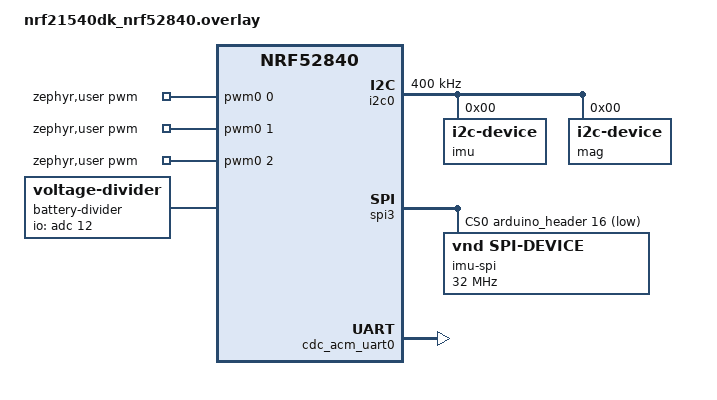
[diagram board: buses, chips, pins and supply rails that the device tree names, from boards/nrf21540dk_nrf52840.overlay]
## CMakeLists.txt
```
#
# Copyright (c) 2023 Nordic Semiconductor
#
# SPDX-License-Identifier: LicenseRef-Nordic-5-Clause
#
cmake_minimum_required(VERSION 3.20.0)

# Configure VERSION from repository tags, or a deterministic development fallback.
find_package(Git)

if(GIT_EXECUTABLE)
  execute_process(
    COMMAND ${GIT_EXECUTABLE} branch --show-current
    WORKING_DIRECTORY ${CMAKE_SOURCE_DIR}
    OUTPUT_VARIABLE GIT_BRANCH
    )
  execute_process(
    COMMAND ${GIT_EXECUTABLE} describe --dirty --tags --long --match [0-9]*.[0-9]*.[0-9]*
    WORKING_DIRECTORY ${CMAKE_SOURCE_DIR}
    OUTPUT_VARIABLE GIT_VERSION
    RESULT_VARIABLE GIT_VERSION_RESULT
    OUTPUT_STRIP_TRAILING_WHITESPACE
    ERROR_QUIET
    )
  # Prefer a https URL for display (falls back to ssh/origin.url)
  execute_process(
    COMMAND ${GIT_EXECUTABLE} config --get remote.origin.url
    WORKING_DIRECTORY ${CMAKE_SOURCE_DIR}
    OUTPUT_VARIABLE GIT_REPO_URL_SSH
    )
  execute_process(
    COMMAND ${GIT_EXECUTABLE} config --get remote.origin.https.url
    WORKING_DIRECTORY ${CMAKE_SOURCE_DIR}
    OUTPUT_VARIABLE GIT_REPO_URL_HTTPS
    )
  execute_process(
    COMMAND ${GIT_EXECUTABLE} log -1 --pretty=%an
    WORKING_DIRECTORY ${CMAKE_SOURCE_DIR}
    OUTPUT_VARIABLE GIT_AUTHOR
    )
endif()

if(GIT_BRANCH STREQUAL "")
  set(GIT_BRANCH unknown)
  message(WARNING "Unknown Git Branch")
endif()

# Choose URL: origin.https.url > origin.url
if(NOT GIT_REPO_URL_HTTPS STREQUAL "")
  set(GIT_REPO_URL ${GIT_REPO_URL_HTTPS})
else()
  set(GIT_REPO_URL ${GIT_REPO_URL_SSH})
endif()

# Normalize GitHub SSH URLs to HTTPS for display in firmware info
if(GIT_REPO_URL MATCHES "^git@github\\.com:(.+)$")
  set(GIT_REPO_URL "https://github.com/${CMAKE_MATCH_1}")
elseif(GIT_REPO_URL MATCHES "^ssh://git@github\\.com/(.+)$")
  set(GIT_REPO_URL "https://github.com/${CMAKE_MATCH_1}")
endif()
string(REGEX REPLACE "\\.git$" "" GIT_REPO_URL "${GIT_REPO_URL}")

if(GIT_REPO_URL STREQUAL "")
  set(GIT_REPO_URL unknown)
  message(WARNING "Unknown Git Repo URL")
endif()

if(GIT_AUTHOR STREQUAL "")
  set(GIT_AUTHOR unknown)
  message(WARNING "Unknown Git Author")
endif()

string(STRIP ${GIT_BRANCH} GIT_BRANCH)
string(STRIP ${GIT_REPO_URL} GIT_REPO_URL)
string(STRIP ${GIT_AUTHOR} GIT_AUTHOR)

if(GIT_VERSION_RESULT STREQUAL "0" AND
   GIT_VERSION MATCHES "^([0-9]+)\\.([0-9]+)\\.([0-9]+)-([0-9]+)-g[0-9a-f]+(-dirty)?$")
  set(GIT_MAJOR ${CMAKE_MATCH_1})
  set(GIT_MINOR ${CMAKE_MATCH_2})
  set(GIT_PATCH ${CMAKE_MATCH_3})
  set(GIT_TWEAK ${CMAKE_MATCH_4})
  configure_file(${CMAKE_SOURCE_DIR}/VERSION_SRC ${CMAKE_SOURCE_DIR}/VERSION @ONLY)
else()
  # VERSION is generated; never reuse stale release numbers from another branch.
  # Zephyr supplies commit provenance separately through APP_BUILD_VERSION.
  set(GIT_MAJOR 0)
  set(GIT_MINOR 0)
  set(GIT_PATCH 0)
  set(GIT_TWEAK 0)
  configure_file(${CMAKE_SOURCE_DIR}/VERSION_SRC ${CMAKE_SOURCE_DIR}/VERSION @ONLY)
  message(STATUS "No Git release version available; using development version 0.0.0")
endif()

# Pass metadata to C compilation units
add_compile_definitions(
  FW_GIT_BRANCH="${GIT_BRANCH}"
  FW_GIT_REPO_URL="${GIT_REPO_URL}"
  FW_GIT_AUTHOR="${GIT_AUTHOR}"
)

# Zephyr
find_package(Zephyr REQUIRED HINTS $ENV{ZEPHYR_BASE})
project(NONE)

find_package(Python3 QUIET COMPONENTS Interpreter)

if(NOT Python3_Interpreter_FOUND)
  find_program(PYTHON_EXECUTABLE NAMES python3 python REQUIRED)
  set(Python3_EXECUTABLE ${PYTHON_EXECUTABLE})
endif()

set(SOFTDEVICE_HEX_52840 ${CMAKE_SOURCE_DIR}/softdevice/s140_nrf52_7.3.0_softdevice.hex)
set(UF2_FAMILY_ID_52840 0xADA52840)

if(WITH_SOFTDEVICE)
  if(CONFIG_SOC_NRF52840)
    set(sd_softdevice_hex ${SOFTDEVICE_HEX_52840})
    set(sd_uf2_family_id ${UF2_FAMILY_ID_52840})
  else()
    message(FATAL_ERROR "WITH_SOFTDEVICE is currently only supported on nRF52840 targets")
  endif()

  if(DEFINED sd_softdevice_hex)
    if(NOT EXISTS ${sd_softdevice_hex})
      message(FATAL_ERROR "SoftDevice hex not found: ${sd_softdevice_hex}")
    endif()

    set(sd_merged_hex ${CMAKE_BINARY_DIR}/zephyr/zephyr_sd.hex)
    set(sd_merged_uf2 ${CMAKE_BINARY_DIR}/zephyr/zephyr_sd.uf2)

    add_custom_command(
      OUTPUT ${sd_merged_hex} ${sd_merged_uf2}
      COMMAND ${Python3_EXECUTABLE} ${ZEPHYR_BASE}/scripts/build/mergehex.py --overlap=replace -o ${sd_merged_hex} ${sd_softdevice_hex} ${CMAKE_BINARY_DIR}/zephyr/zephyr.hex
      COMMAND ${Python3_EXECUTABLE} ${ZEPHYR_BASE}/scripts/build/uf2conv.py ${sd_merged_hex} -c -f ${sd_uf2_family_id} -o ${sd_merged_uf2}
      DEPENDS ${sd_softdevice_hex} ${CMAKE_BINARY_DIR}/zephyr/zephyr.hex
      VERBATIM
    )

    add_custom_target(sd_merged_uf2 ALL DEPENDS ${sd_merged_hex} ${sd_merged_uf2})
  endif()
endif()

# NORDIC SDK APP START
FILE(GLOB_RECURSE app_sources src/*.c)
if(NOT CONFIG_CONNECTION_OVER_HID)
  list(FILTER app_sources EXCLUDE REGEX ".*/hid\\.c$")
endif()
if(NOT CONFIG_TDMA_DIAGNOSTICS AND NOT CONFIG_CONNECTION_RELAY)
  list(FILTER app_sources EXCLUDE REGEX ".*/radio_capture\\.c$")
endif()
if(NOT CONFIG_CONNECTION_RELAY)
  list(FILTER app_sources EXCLUDE REGEX ".*/connection/relay(_radio)?\\.c$")
endif()
if(NOT CONFIG_LED_DEBUG)
  list(FILTER app_sources EXCLUDE REGEX ".*/led_debug\\.c$")
endif()
if(NOT CONFIG_CUSTOMER_INFO OR NOT CONFIG_SOC_SERIES_NRF52)
  list(FILTER app_sources EXCLUDE REGEX ".*/customer_info(_parser)?\\.c$")
endif()
if(NOT CONFIG_CONNECTION_RAW_COLLECTION)
  list(FILTER app_sources EXCLUDE REGEX ".*/sensor/raw_collection\\.c$")
endif()
if(NOT CONFIG_SENSOR_USE_MAGNETOMETER)
  list(FILTER app_sources EXCLUDE REGEX ".*/sensor/scan_ext\\.c$")
  list(FILTER app_sources EXCLUDE REGEX ".*/sensor/calibration/(online_mag|mag_fit|magneto)\\.c$")
endif()
list(FILTER app_sources EXCLUDE REGEX ".*/sensor/imu/.*\\.c$")
list(FILTER app_sources EXCLUDE REGEX ".*/sensor/mag/.*\\.c$")
target_sources(app PRIVATE ${app_sources})

# IMU drivers
if(CONFIG_SENSOR_DRV_ICM42688)
  target_sources(app PRIVATE src/sensor/imu/ICM42688.c)
endif()
if(CONFIG_SENSOR_DRV_ICM42686)
  target_sources(app PRIVATE src/sensor/imu/ICM42686.c)
endif()
if(CONFIG_SENSOR_DRV_ICM45686)
  target_sources(app PRIVATE src/sensor/imu/ICM45686.c)
endif()
if(CONFIG_SENSOR_DRV_LSM6DSM)
  target_sources(app PRIVATE src/sensor/imu/LSM6DSM.c)
endif()
if(CONFIG_SENSOR_DRV_LSM6DSO)
  target_sources(app PRIVATE src/sensor/imu/LSM6DSO.c)
endif()
# LSM6DSM/DSO vtables call shared helpers defined in LSM6DSV.c (lsm_shutdown,
# lsm_accel_read, …). Compile that TU whenever any LSM6 family DRV is on, even
# if SENSOR_DRV_LSM6DSV=n — keep the Kconfig off so scan/vtable stay trimmed and
# SENSOR_IMU_DRV_COUNT is not inflated.
if(CONFIG_SENSOR_DRV_LSM6DSV OR CONFIG_SENSOR_DRV_LSM6DSM OR CONFIG_SENSOR_DRV_LSM6DSO)
  target_sources(app PRIVATE src/sensor/imu/LSM6DSV.c)
endif()

# Magnetometer drivers
if(CONFIG_SENSOR_USE_MAGNETOMETER)
if(CONFIG_SENSOR_DRV_AK09940)
  target_sources(app PRIVATE src/sensor/mag/AK09940.c)
endif()
if(CONFIG_SENSOR_DRV_BMM150)
  target_sources(app PRIVATE src/sensor/mag/BMM150.c)
endif()
if(CONFIG_SENSOR_DRV_BMM350)
  target_sources(app PRIVATE src/sensor/mag/BMM350.c)
endif()
if(CONFIG_SENSOR_DRV_ICT153XX)
  target_sources(app PRIVATE src/sensor/mag/ICT153xx.c)
endif()
if(CONFIG_SENSOR_DRV_IST8306 OR CONFIG_SENSOR_DRV_IST8308)
  target_sources(app PRIVATE src/sensor/mag/ist83xx.c)
endif()
if(CONFIG_SENSOR_DRV_IST8306)
  target_sources(app PRIVATE src/sensor/mag/IST8306.c)
endif()
if(CONFIG_SENSOR_DRV_IST8308)
  target_sources(app PRIVATE src/sensor/mag/IST8308.c)
endif()
if(CONFIG_SENSOR_DRV_LIS2MDL)
  target_sources(app PRIVATE src/sensor/mag/LIS2MDL.c)
endif()
if(CONFIG_SENSOR_DRV_LIS3MDL)
  target_sources(app PRIVATE src/sensor/mag/LIS3MDL.c)
endif()
if(CONFIG_SENSOR_DRV_MMC5603NJ)
  target_sources(app PRIVATE src/sensor/mag/MMC5603NJ.c)
endif()
if(CONFIG_SENSOR_DRV_MMC5983MA)
  target_sources(app PRIVATE src/sensor/mag/MMC5983MA.c)
endif()
if(CONFIG_SENSOR_DRV_QMC5883L)
  target_sources(app PRIVATE src/sensor/mag/QMC5883L.c)
endif()
if(CONFIG_SENSOR_DRV_QMC6309)
  target_sources(app PRIVATE src/sensor/mag/QMC6309.c)
endif()
endif()

set(_slimenrf_imu_drv_count 0)
foreach(_d ICM42688 ICM42686 ICM45686 LSM6DSM LSM6DSO LSM6DSV)
  if(CONFIG_SENSOR_DRV_${_d})
    math(EXPR _slimenrf_imu_drv_count "${_slimenrf_imu_drv_count}+1")
  endif()
endforeach()
if(_slimenrf_imu_drv_count EQUAL 0)
  message(FATAL_ERROR "No IMU SENSOR_DRV_* enabled. Enable at least one, or turn off SENSOR_IMU_DRIVERS_MINIMAL.")
endif()
# NORDIC SDK APP END

FILE(GLOB_RECURSE files vqf-c/src/*.c)
target_sources(app PRIVATE ${files})
set_property(
  SOURCE ${CMAKE_CURRENT_SOURCE_DIR}/vqf-c/src/vqf.c
  APPEND PROPERTY COMPILE_OPTIONS
  -Wno-double-promotion
)
if(CONFIG_SENSOR_VQF_ADAPTIVE_BIAS)
  target_compile_definitions(app PRIVATE VQF_ADAPTIVE_BIAS)
endif()
if(CONFIG_SENSOR_VQF_REST_TRANSITION)
  target_compile_definitions(app PRIVATE VQF_REST_TRANSITION)
endif()
if(CONFIG_SENSOR_VQF_FAST_REST_RECOVERY)
  target_compile_definitions(app PRIVATE VQF_FAST_REST_RECOVERY)
endif()
if(CONFIG_SENSOR_VQF_CYCLE_BIAS_OBSERVATION)
  target_compile_definitions(app PRIVATE VQF_CYCLE_BIAS_OBSERVATION)
endif()
if(CONFIG_SENSOR_VQF_OUTPUT_OBSERVER)
  target_compile_definitions(app PRIVATE VQF_OUTPUT_OBSERVER VQF_OUTPUT_TAU_ACC=3.264f)
endif()

target_include_directories(app PRIVATE src)
target_include_directories(app PRIVATE vqf-c/src)

# Force recompile for updated build timestamp
add_custom_target(touch_util_h ALL
    COMMAND ${CMAKE_COMMAND} -E touch ${CMAKE_SOURCE_DIR}/src/build_defines.h
)
```

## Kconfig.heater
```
menuconfig SENSOR_TCAL_HEATED
    bool "Experimental closed-loop heated T-Cal"
    default n
    depends on SENSOR_USE_TCAL && SOC_NRF52840
    depends on BOARD_SK_CHEESECAKE_NRF_P00 || BOARD_SK_CHEESECAKE_NRF_P10
    depends on !PM && !PM_DEVICE_RUNTIME
    select SYSTEM_IMU_HEATER
    help
        Built in by default on P00/P10; heating starts only through the
        explicit "tcal heat start" console command and requires external power.
        Electrical/thermal qualification is still required. TIMER4 and PWM1
        are exclusively reserved. The hardware cutoff repeats STOP; it is
        not a latched interlock against a delayed CPU restart.

config SYSTEM_IMU_HEATER
    bool
    select PWM
    select NRFX_TIMER
    select NRFX_GPPI

if SENSOR_TCAL_HEATED

config SYSTEM_IMU_HEATER_MAX_DUTY_PPTT
    int "Maximum heater duty (1/10000)"
    range 1 9900
    default 7000
    help
        Conservative software ceiling, not a hardware-qualified power limit.
        100 percent is forbidden: stopped PWM must fall back to GPIO LOW.

config SENSOR_TCAL_HEATED_DEFAULT_TARGET_C
    int "Default heated calibration target (C)"
    range 30 48
    default 44

config SENSOR_TCAL_HEATED_MAX_TEMP_C
    int "Absolute raw temperature shutdown threshold (C)"
    range 40 60
    default 50

config SENSOR_TCAL_HEATED_RAMP_HALF_DEGREE_MS
    int "Active ramp time per 0.5 C (ms)"
    range 5000 500000
    default 45000
    help
        Reference rise of 0.5 C per configured active ramp interval.
        The default is exactly 0.5 C per 45 seconds (2/3 C per minute).
        Motion pauses do not accumulate ramp time.

config SENSOR_TCAL_HEATED_STABLE_BAND_MC
    int "Target stable band (mC)"
    range 100 1000
    default 500

config SENSOR_TCAL_HEATED_STABLE_MS
    int "Stable target dwell (ms)"
    range 10000 300000
    default 60000

config SENSOR_TCAL_HEATED_MAX_RISE_MCPS
    int "Maximum confirmed raw-window temperature rise (mC/s)"
    range 50 1000
    default 200
    help
        Rise is measured between adjacent time-weighted raw-temperature means,
        each covering at least one second of advancing acquisition timestamps.
        Two consecutive slopes above this limit abort, even with heater off.
        Confirmation requires three covered windows; acquisition cadence and
        jitter extend their duration. Raw and filtered absolute ceilings remain
        immediate. Above half this rate, the controller requests zero heat and
        pauses ramp/unfinished sampling; at or below one quarter it releases
        the limit and requires the normal rest dwell before sampling resumes.

config SENSOR_TCAL_HEATED_TIMEOUT_MIN
    int "Session timeout (minutes)"
    range 1 90
    default 90

config SENSOR_TCAL_HEATED_RESUME_STABLE_MS
    int "Rest dwell before resuming ramp and sampling (ms)"
    range 1000 30000
    default 5000

config SENSOR_TCAL_HEATED_SLEW_PPTT_PER_S
    int "Maximum duty increase per second (1/10000)"
    range 1 2000
    default 500

config SENSOR_TCAL_HEATED_DEFAULT_KP
    int "Proportional gain (1/10000 per C)"
    range 0 2000
    default 300

config SENSOR_TCAL_HEATED_DEFAULT_KI
    int "Integral gain (1/10000 per C-second)"
    range 0 100
    default 5

config SENSOR_TCAL_HEATED_DEFAULT_KFF
    int "Feedforward gain (1/10000 per C)"
    range 0 2000
    default 0
    help
        Optional feedforward requires physical thermal plant identification.

endif
```

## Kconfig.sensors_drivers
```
config SENSOR_IMU_DRIVERS_MINIMAL
	bool "Compile only selected IMU drivers"
	default n
	help
	  When disabled (default), every SENSOR_DRV_* IMU option defaults to y.
	  When enabled, each IMU SENSOR_DRV_* defaults to n; enable the BOM
	  drivers in the board *_defconfig.

config SENSOR_MAG_DRIVERS_MINIMAL
	bool "Compile only selected magnetometer drivers"
	default n
	help
	  Same as SENSOR_IMU_DRIVERS_MINIMAL but for magnetometer drivers.
	  Mag may be entirely disabled (mag-less boards).

menu "IMU drivers"

config SENSOR_DRV_ICM42688
	bool "ICM42688"
	default y if !SENSOR_IMU_DRIVERS_MINIMAL
	default n

config SENSOR_DRV_ICM42686
	bool "ICM42686"
	default y if !SENSOR_IMU_DRIVERS_MINIMAL
	default n

config SENSOR_DRV_ICM45686
	bool "ICM45686 / ICM45688"
	default y if !SENSOR_IMU_DRIVERS_MINIMAL
	default n

config SENSOR_DRV_LSM6DSM
	bool "LSM6DSM family (DS3 / DSM)"
	default y if !SENSOR_IMU_DRIVERS_MINIMAL
	default n
	help
	  Shares helpers compiled from LSM6DSV.c (CMake pulls that TU in
	  automatically). Enabling this alone does not enable SENSOR_DRV_LSM6DSV
	  scan/vtable slots.

config SENSOR_DRV_LSM6DSO
	bool "LSM6DSO family (DSR / DSO)"
	default y if !SENSOR_IMU_DRIVERS_MINIMAL
	default n
	help
	  Shares helpers compiled from LSM6DSV.c (CMake pulls that TU in
	  automatically). Enabling this alone does not enable SENSOR_DRV_LSM6DSV
	  scan/vtable slots.

config SENSOR_DRV_LSM6DSV
	bool "LSM6DSV family (DSV / ISM330BX)"
	default y if !SENSOR_IMU_DRIVERS_MINIMAL
	default n
	help
	  Also provides shared LSM6 helpers used by LSM6DSM / LSM6DSO drivers.

endmenu

menu "Magnetometer drivers"

config SENSOR_DRV_AK09940
	bool "AK09940"
	default y if !SENSOR_MAG_DRIVERS_MINIMAL
	default n

config SENSOR_DRV_BMM150
	bool "BMM150"
	default y if !SENSOR_MAG_DRIVERS_MINIMAL
	default n

config SENSOR_DRV_BMM350
	bool "BMM350"
	default y if !SENSOR_MAG_DRIVERS_MINIMAL
	default n

config SENSOR_DRV_ICT153XX
	bool "ICT-15312 / ICT-15318"
	default y if !SENSOR_MAG_DRIVERS_MINIMAL
	default n
	help
	  I2C magnetometers, including access through an IMU external I2C proxy.
	  Both require VDD 1.62–1.98 V; ICT-15312 uses 1.2 V bus logic and
	  ICT-15318 uses 1.8 V bus logic.

config SENSOR_DRV_IST8306
	bool "IST8306"
	default y if !SENSOR_MAG_DRIVERS_MINIMAL
	default n

config SENSOR_DRV_IST8308
	bool "IST8308"
	default y if !SENSOR_MAG_DRIVERS_MINIMAL
	default n

config SENSOR_DRV_LIS2MDL
	bool "LIS2MDL / IIS2MDC"
	default y if !SENSOR_MAG_DRIVERS_MINIMAL
	default n

config SENSOR_DRV_LIS3MDL
	bool "LIS3MDL"
	default y if !SENSOR_MAG_DRIVERS_MINIMAL
	default n

config SENSOR_DRV_MMC5603NJ
	bool "MMC5603NJ"
	default y if !SENSOR_MAG_DRIVERS_MINIMAL
	default n

config SENSOR_DRV_MMC5983MA
	bool "MMC5983MA"
	default y if !SENSOR_MAG_DRIVERS_MINIMAL
	default n

config SENSOR_DRV_QMC5883L
	bool "QMC5883L"
	default y if !SENSOR_MAG_DRIVERS_MINIMAL
	default n

config SENSOR_DRV_QMC6309
	bool "QMC6309"
	default y if !SENSOR_MAG_DRIVERS_MINIMAL
	default n

endmenu
```

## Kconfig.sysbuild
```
config PARTITION_MANAGER
	default n

if BOOTLOADER_MCUBOOT

choice MCUBOOT_MODE
	default MCUBOOT_MODE_SINGLE_APP if SOC_NRF52832 || SOC_NRF52833
endchoice

endif

source "share/sysbuild/Kconfig"
```

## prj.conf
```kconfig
#CONFIG_NCS_SAMPLES_DEFAULTS
CONFIG_ASSERT=y
CONFIG_ASSERT_NO_COND_INFO=y
CONFIG_ASSERT_NO_MSG_INFO=y
CONFIG_ASSERT_VERBOSE=n
CONFIG_RESET_ON_FATAL_ERROR=n

CONFIG_NCS_APPLICATION_BOOT_BANNER_STRING="SlimeVR-Tracker-nRF"
#CONFIG_NCS_BOOT_BANNER=n
CONFIG_BOOT_BANNER=n

# HEX carries mapped-partition addresses for native UF2 generation.
CONFIG_BUILD_OUTPUT_HEX=y

CONFIG_LTO=y
CONFIG_ISR_TABLES_LOCAL_DECLARATION=y

CONFIG_ESB=y

CONFIG_ENTROPY_GENERATOR=y
CONFIG_HARDWARE_DEVICE_CS_GENERATOR=y
#need to enable for nRF54L
#CONFIG_NRFX_DPPI10=y

CONFIG_ADC=y
CONFIG_ADC_NRFX_SAADC=y
# battery.c owns ADC/GPIO setup; voltage-divider DT nodes supply board metadata.
CONFIG_VOLTAGE_DIVIDER=n
CONFIG_FPU=y

# CMSIS-DSP Configuration for VQF optimization
CONFIG_CMSIS_DSP=y
CONFIG_CMSIS_DSP_FASTMATH=y
CONFIG_CMSIS_DSP_BASICMATH=y
CONFIG_CMSIS_DSP_MATRIX=y
CONFIG_CMSIS_DSP_QUATERNIONMATH=y
CONFIG_CMSIS_DSP_SUPPORT=y
CONFIG_CMSIS_DSP_CONTROLLER=y
CONFIG_DSP=y

CONFIG_I2C=y
CONFIG_SPI=y
CONFIG_PINCTRL=y

CONFIG_NVS=y
CONFIG_NVS_LOOKUP_CACHE=y
CONFIG_NVS_INIT_BAD_MEMORY_REGION=y

CONFIG_POWEROFF=y
CONFIG_REBOOT=y

CONFIG_FLASH=y
CONFIG_FLASH_PAGE_LAYOUT=y
CONFIG_FLASH_MAP=y
CONFIG_USE_DT_CODE_PARTITION=y

CONFIG_SETTINGS=y
CONFIG_SETTINGS_RUNTIME=y
CONFIG_SETTINGS_NONE=y

CONFIG_MPU_ALLOW_FLASH_WRITE=y

CONFIG_RETAINED_MEM=y

CONFIG_USE_SEGGER_RTT=y
CONFIG_SEGGER_RTT_SECTION_NONE=y
CONFIG_LOG=y
#CONFIG_PRINTK=y
CONFIG_LOG_MODE_DEFERRED=y
CONFIG_LOG_SPEED=y
CONFIG_LOG_BACKEND_RTT=y
CONFIG_CBPRINTF_FP_SUPPORT=y
CONFIG_ADC_LOG_LEVEL_OFF=y
CONFIG_LOG_FUNC_NAME_PREFIX_ERR=y
# Absorb multi-line sensor debug bursts without changing their output cadence.
CONFIG_LOG_BUFFER_SIZE=8192
CONFIG_LOG_BACKEND_UART_AUTOSTART=n
CONFIG_LOG_PROCESS_THREAD_SLEEP_MS=25
CONFIG_LOG_PROCESS_THREAD_STACK_SIZE=1024

CONFIG_PWM=y
CONFIG_GPIO=y

CONFIG_CRC=y

# Sensor lifecycle waits (suspend / scan) use k_event instead of busy spins
CONFIG_EVENTS=y

CONFIG_PICOLIBC=y
# CONFIG_NRFX_TIMER1=y

#speed up boot? (use internal rc oscillator)
CONFIG_CLOCK_CONTROL_NRF_K32SRC_RC=y
CONFIG_CLOCK_CONTROL_NRF_K32SRC_20PPM=y

# dont need it
CONFIG_CRYPTO=n

# set timeout for 25ms, sufficient for ~1000 bytes
CONFIG_I2C_NRFX_TRANSFER_TIMEOUT=25

CONFIG_USB_DEVICE_STACK_NEXT=y
CONFIG_USBD_CDC_ACM_CLASS=y
CONFIG_CDC_ACM_SERIAL_INITIALIZE_AT_BOOT=n
CONFIG_SLIMEVR_USB_DEVICE_VID=0x1209
CONFIG_SLIMEVR_USB_DEVICE_PID=0x7692
CONFIG_UART_INTERRUPT_DRIVEN=y

CONFIG_SERIAL=y
CONFIG_CONSOLE=y
CONFIG_RTT_CONSOLE=y
CONFIG_UART_CONSOLE=y
CONFIG_UART_LINE_CTRL=y

CONFIG_LOG_BACKEND_UART=y

CONFIG_CONSOLE_SUBSYS=y

CONFIG_NVS_LOG_LEVEL_WRN=y

CONFIG_SYSTEM_WORKQUEUE_STACK_SIZE=1024
CONFIG_MAIN_STACK_SIZE=2048

CONFIG_THREAD_NAME=y
CONFIG_THREAD_MAX_NAME_LEN=22

CONFIG_HEAP_MEM_POOL_SIZE=4096
CONFIG_ISR_STACK_SIZE=2048

CONFIG_PM_DEVICE=y


CONFIG_USE_ACTIVE_TIMEOUT=y

# 100ms switch delay will be obvious to users, so we choose not to use it by default,
# but it can be enabled for testing or specific use cases
CONFIG_SENSOR_USE_LOW_POWER_2=n

# control low power mode
# due to current mag reading is process in sensor loop,
# low power mode will cause mag reading isn't at target odr,
# so currently it should be disabled by default
CONFIG_USE_IMU_TIMEOUT=n
# a very large low power timeout (1h) to prevent it from triggering
CONFIG_SENSOR_LP_TIMEOUT=3600000

# 10 minutes timeout with wake on motion
CONFIG_ACTIVE_TIMEOUT_DELAY=600000

# dynamic low-activity sleep timeout is 90 seconds, repeat wake timeout is 90 seconds by default
CONFIG_ACTIVE_TIMEOUT_IDLE_WAKE_DELAY=90000
CONFIG_DYNAMIC_ACTIVE_TIMEOUT=y
CONFIG_USE_IMU_WAKE_UP=y

# or 6 hours timeout
# CONFIG_USE_IMU_WAKE_UP=n
# CONFIG_ACTIVE_TIMEOUT_DELAY=21600000

CONFIG_USER_EXTRA_ACTIONS=y
CONFIG_DISABLE_SENSOR_GPIOS_ON_SHUTDOWN=y

CONFIG_ESB_MAX_PAYLOAD_LENGTH=72
CONFIG_ESB_TX_FIFO_SIZE=8
CONFIG_ESB_RX_FIFO_SIZE=8
CONFIG_RADIO_RF_CHANNEL=84
CONFIG_RADIO_RETRANSMIT_DELAY=310
CONFIG_CONNECTION_ENABLE_ACK=n
CONFIG_RADIO_TX_POWER=8
# 3 minutes timeout after ping continuous failed
CONFIG_CONNECTION_TIMEOUT_DELAY=180000

# CONFIG_SENSOR_USE_ACCEL_CALIBRATION=y
# CONFIG_SENSOR_USE_SENS_CALIBRATION=y
# CONFIG_SENSOR_SENS_REV=5

# CONFIG_SENSOR_USE_TCAL=y

# Boot calibration is disabled by default
# CONFIG_SENSOR_USE_BOOT_CALIBRATION=y

# Gyro/accel ODR. Gyro OVERSAMPLING = Δq INT_merge factor.
# Example: GYRO_ODR=1600 + GYRO_OVERSAMPLING=4 → 400 Hz fusion gyro steps.
# icm45 ~1600, dsv ~1920
# CONFIG_SENSOR_GYRO_ODR=400
# fusion rate at ~400Hz
# CONFIG_SENSOR_GYRO_OVERSAMPLING=1
# CONFIG_SENSOR_MAG_ODR=100

CONFIG_VQF_ADAPTIVE_TAU_ACC=n
CONFIG_SENSOR_VQF_ADAPTIVE_BIAS=n
CONFIG_SENSOR_VQF_REST_TRANSITION=n
CONFIG_SENSOR_VQF_FAST_REST_RECOVERY=n
CONFIG_SENSOR_VQF_CYCLE_BIAS_OBSERVATION=n

# Watchdog Configuration
CONFIG_WATCHDOG=y
CONFIG_WDT_NRFX=y
CONFIG_TASK_WDT=y
CONFIG_TASK_WDT_CHANNELS=9
CONFIG_TASK_WDT_HW_FALLBACK=y
CONFIG_TASK_WDT_HW_FALLBACK_DELAY=5000

# enable tdma on board which don't have lfxo, it can use lf clock synthesized by hf clock,
# but it will increase a lot of power consumption, so if you want to use it, you can enable below config,
# or define it in board level Kconfig file.

# CONFIG_CLOCK_USE_LFXO=n
# CONFIG_CONNECTION_TDMA=y

# Enable VQF benchmark mode for performance testing (disabled by default)
# CONFIG_VQF_BENCH=y

CONFIG_TRACKER_EVENT_FUSION_REST=n
```

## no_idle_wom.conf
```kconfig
# Keep trackers active while connected. Enter WOM only when the receiver has
# been unavailable for the connection timeout duration.
CONFIG_USE_IMU_WAKE_UP=y
CONFIG_CONNECTION_TIMEOUT_USE_WOM=y
CONFIG_USE_ACTIVE_TIMEOUT=n
CONFIG_USE_IMU_TIMEOUT=n
CONFIG_SENSOR_USE_LOW_POWER_2=n
CONFIG_CONNECTION_TIMEOUT_DELAY=30000
```

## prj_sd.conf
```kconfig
CONFIG_FLASH_LOAD_OFFSET=0x27000
```

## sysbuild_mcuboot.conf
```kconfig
SB_CONFIG_PARTITION_MANAGER=n
SB_CONFIG_MERGED_HEX_FILES=y
SB_CONFIG_BOOTLOADER_MCUBOOT=y
SB_CONFIG_BOOT_SIGNATURE_TYPE_NONE=y
```

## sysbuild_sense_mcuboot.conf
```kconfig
# Sysbuild configuration for the XIAO nRF54L15 Sense MCUboot target
# (-DFILE_SUFFIX=sense_mcuboot). Identical to sysbuild_mcuboot.conf: the
# sense variant only changes the application image, not the bootloader.
# Kconfig fragments cannot include other files, so the content is
# duplicated here.
SB_CONFIG_PARTITION_MANAGER=n
SB_CONFIG_MERGED_HEX_FILES=y
SB_CONFIG_BOOTLOADER_MCUBOOT=y
SB_CONFIG_BOOT_SIGNATURE_TYPE_NONE=y
```

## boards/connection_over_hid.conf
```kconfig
CONFIG_CONNECTION_OVER_HID=y
CONFIG_USBD_HID_SUPPORT=y
CONFIG_USBD_HID_LOG_LEVEL_WRN=y
CONFIG_USBD_HID_IN_BUF_COUNT=4
```

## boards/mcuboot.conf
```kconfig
CONFIG_IMG_MANAGER=y
CONFIG_STREAM_FLASH=y
CONFIG_RETAINED_MEM=y
CONFIG_RETENTION=y
CONFIG_RETENTION_BOOT_MODE=y
```

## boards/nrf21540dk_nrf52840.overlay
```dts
&pwm0_default {
	group1 {
		psels = <NRF_PSEL(PWM_OUT0, 0, 13)>,
			<NRF_PSEL(PWM_OUT1, 0, 14)>,
			<NRF_PSEL(PWM_OUT2, 0, 15)>;
		nordic,drive-mode = <NRF_DRIVE_D0S1>;
		nordic,invert;
	};
};

&pwm0_sleep {
	group1 {
		psels = <NRF_PSEL(PWM_OUT0, 0, 13)>,
			<NRF_PSEL(PWM_OUT1, 0, 14)>,
			<NRF_PSEL(PWM_OUT2, 0, 15)>;
	};
};

&i2c0_default {
	group1 {
		bias-disable;
	};
};

&i2c0_sleep {
	group1 {
		bias-disable;
	};
};

/ {
	zephyr,user {
		/* Separate DK lamps; no RGB/color-mixing assumption. */
		led-capability = "tri-discrete";
		pwms = <&pwm0 0 PWM_MSEC(20) PWM_POLARITY_INVERTED>,
			<&pwm0 1 PWM_MSEC(20) PWM_POLARITY_INVERTED>,
			<&pwm0 2 PWM_MSEC(20) PWM_POLARITY_INVERTED>;
		led-channel-colors = <0 0 0>;
		led-channel-weights = <10000 10000 10000>;
	};
	chosen {
		zephyr,console = &cdc_acm_uart0;
		zephyr,shell-uart = &cdc_acm_uart0;
	};

	pwmleds {
		pwm_led1: pwm_led_1 {
			pwms = <&pwm0 1 PWM_MSEC(20) PWM_POLARITY_INVERTED>;
		};
		pwm_led2: pwm_led_2 {
			pwms = <&pwm0 2 PWM_MSEC(20) PWM_POLARITY_INVERTED>;
		};
	};

	battery-divider {
		compatible = "voltage-divider";
		status = "okay";
		io-channels = <&adc 12>; // Measure VDDHDIV5
		output-ohms = <1>;
		full-ohms = <2>;
	};

	aliases {
		pwm-led1 = &pwm_led1;
		pwm-led2 = &pwm_led2;
	};
};

&i2c0 {
	compatible = "nordic,nrf-twim";
	zephyr,concat-buf-size = <1023>;
	zephyr,flash-buf-max-size = <1023>;
	clock-frequency = <I2C_BITRATE_FAST>;

	imu: imu@0 { // any address out of range (00, 7f, etc. will search all addresses and stored address first if available, specify an address here to search first otherwise
		compatible = "i2c-device";
		label = "imu";
		reg = <0>;
	};

	mag: mag@0 {
		compatible = "i2c-device";
		label = "mag";
		reg = <0>;
	};

};

&spi3 {
	cs-gpios = <&arduino_header 16 GPIO_ACTIVE_LOW>; /* D10 */
	imu_spi: imu_spi@0 {
		compatible = "vnd,spi-device";
		spi-max-frequency = <DT_FREQ_M(32)>;
		label = "imu-spi";
		reg = <0>;
	};
};

&usbd {
	cdc_acm_uart0: cdc_acm_uart0 {
		compatible = "zephyr,cdc-acm-uart";
	};
};
```

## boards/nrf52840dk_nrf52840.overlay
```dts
&pwm0_default {
	group1 {
		psels = <NRF_PSEL(PWM_OUT0, 0, 13)>,
			<NRF_PSEL(PWM_OUT1, 0, 14)>,
			<NRF_PSEL(PWM_OUT2, 0, 15)>;
		nordic,drive-mode = <NRF_DRIVE_D0S1>;
		nordic,invert;
	};
};

&pwm0_sleep {
	group1 {
		psels = <NRF_PSEL(PWM_OUT0, 0, 13)>,
			<NRF_PSEL(PWM_OUT1, 0, 14)>,
			<NRF_PSEL(PWM_OUT2, 0, 15)>;
	};
};

&i2c0_default {
	group1 {
		bias-disable;
	};
};

&i2c0_sleep {
	group1 {
		bias-disable;
	};
};

/ {
	zephyr,user {
		/* Separate DK lamps: only the fixed primary lamp expresses a role. */
		led-capability = "tri-discrete";
		pwms = <&pwm0 0 PWM_MSEC(20) PWM_POLARITY_INVERTED>,
			<&pwm0 1 PWM_MSEC(20) PWM_POLARITY_INVERTED>,
			<&pwm0 2 PWM_MSEC(20) PWM_POLARITY_INVERTED>;
		led-channel-colors = <0 0 0>;
		led-channel-weights = <10000 10000 10000>;
	};
	chosen {
		zephyr,console = &cdc_acm_uart0;
		zephyr,shell-uart = &cdc_acm_uart0;
	};

	pwmleds {
		pwm_led1: pwm_led_1 {
			pwms = <&pwm0 1 PWM_MSEC(20) PWM_POLARITY_INVERTED>;
		};
		pwm_led2: pwm_led_2 {
			pwms = <&pwm0 2 PWM_MSEC(20) PWM_POLARITY_INVERTED>;
		};
	};

	battery-divider {
		compatible = "voltage-divider";
		status = "okay";
		io-channels = <&adc 12>; // Measure VDDHDIV5
		output-ohms = <1>;
		full-ohms = <2>;
	};

	aliases {
		pwm-led1 = &pwm_led1;
		pwm-led2 = &pwm_led2;
	};
};

&i2c0 {
	compatible = "nordic,nrf-twim";
	zephyr,concat-buf-size = <1023>;
	zephyr,flash-buf-max-size = <1023>;
	clock-frequency = <I2C_BITRATE_FAST>;

	imu: imu@0 { // any address out of range (00, 7f, etc. will search all addresses and stored address first if available, specify an address here to search first otherwise
		compatible = "i2c-device";
		label = "imu";
		reg = <0>;
	};

	mag: mag@0 {
		compatible = "i2c-device";
		label = "mag";
		reg = <0>;
	};

};

&spi3 {
	imu_spi: imu_spi@0 {
		compatible = "vnd,spi-device";
		spi-max-frequency = <DT_FREQ_M(32)>;
		label = "imu-spi";
		reg = <0>;
	};
};

&usbd {
	cdc_acm_uart0: cdc_acm_uart0 {
		compatible = "zephyr,cdc-acm-uart";
	};
};
```

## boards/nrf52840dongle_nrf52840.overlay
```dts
&red_pwm_led {
	pwms = <&pwm0 0 PWM_MSEC(1) PWM_POLARITY_INVERTED>;
};
&green_pwm_led {
	pwms = <&pwm0 1 PWM_MSEC(1) PWM_POLARITY_INVERTED>;
};
&blue_pwm_led {
	pwms = <&pwm0 2 PWM_MSEC(1) PWM_POLARITY_INVERTED>;
};

/ {
	zephyr,user {
		led-capability = "rgb-pwm";
		pwms = <&pwm0 0 PWM_MSEC(1) PWM_POLARITY_INVERTED>,
			<&pwm0 1 PWM_MSEC(1) PWM_POLARITY_INVERTED>,
			<&pwm0 2 PWM_MSEC(1) PWM_POLARITY_INVERTED>;
		led-channel-colors = <1 2 3>; /* Explicit red/green/blue PWM nodes. */
		led-channel-weights = <10000 10000 10000>;
		led-primary-channel = <1>;
	};
	battery-divider {
		compatible = "voltage-divider";
		status = "okay";
		io-channels = <&adc 12>; // Measure VDDHDIV5
		output-ohms = <1>;
		full-ohms = <2>;
	};
};

&i2c0 {
	compatible = "nordic,nrf-twim";
	zephyr,concat-buf-size = <1023>;
	zephyr,flash-buf-max-size = <1023>;
	clock-frequency = <I2C_BITRATE_FAST>;

	imu: imu@0 { // any address out of range (00, 7f, etc. will search all addresses and stored address first if available, specify an address here to search first otherwise
		compatible = "i2c-device";
		label = "imu";
		reg = <0>;
	};

	mag: mag@0 {
		compatible = "i2c-device";
		label = "mag";
		reg = <0>;
	};

};

arduino_spi: &spi3 {
	imu_spi: imu_spi@0 {
		compatible = "vnd,spi-device";
		spi-max-frequency = <DT_FREQ_M(32)>;
		label = "imu-spi";
		reg = <0>;
	};
};
```

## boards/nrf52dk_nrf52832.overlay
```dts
&pwm0_default {
	group1 {
		psels = <NRF_PSEL(PWM_OUT0, 0, 13)>,
			<NRF_PSEL(PWM_OUT1, 0, 14)>,
			<NRF_PSEL(PWM_OUT2, 0, 15)>;
		nordic,drive-mode = <NRF_DRIVE_D0S1>;
		nordic,invert;
	};
};

&pwm0_sleep {
	group1 {
		psels = <NRF_PSEL(PWM_OUT0, 0, 13)>,
			<NRF_PSEL(PWM_OUT1, 0, 14)>,
			<NRF_PSEL(PWM_OUT2, 0, 15)>;
	};
};

/ {
	zephyr,user {
		/* Separate DK lamps; no RGB/color-mixing assumption. */
		led-capability = "tri-discrete";
		pwms = <&pwm0 0 PWM_MSEC(20) PWM_POLARITY_INVERTED>,
			<&pwm0 1 PWM_MSEC(20) PWM_POLARITY_INVERTED>,
			<&pwm0 2 PWM_MSEC(20) PWM_POLARITY_INVERTED>;
		led-channel-colors = <0 0 0>;
		led-channel-weights = <10000 10000 10000>;
	};
	pwmleds {
		pwm_led1: pwm_led_1 {
			pwms = <&pwm0 1 PWM_MSEC(20) PWM_POLARITY_INVERTED>;
		};
		pwm_led2: pwm_led_2 {
			pwms = <&pwm0 2 PWM_MSEC(20) PWM_POLARITY_INVERTED>;
		};
	};

	battery-divider {
		compatible = "voltage-divider";
		status = "okay";
		io-channels = <&adc 12>; // Measure VDDHDIV5
		output-ohms = <1>;
		full-ohms = <2>;
	};

	aliases {
		pwm-led1 = &pwm_led1;
		pwm-led2 = &pwm_led2;
	};
};

&i2c0 {
	compatible = "nordic,nrf-twim";
	zephyr,concat-buf-size = <255>; // MAXCNT
	zephyr,flash-buf-max-size = <255>;
	clock-frequency = <I2C_BITRATE_FAST>;

	imu: imu@0 { // any address out of range (00, 7f, etc. will search all addresses and stored address first if available, specify an address here to search first otherwise
		compatible = "i2c-device";
		label = "imu";
		reg = <0>;
	};

	mag: mag@0 {
		compatible = "i2c-device";
		label = "mag";
		reg = <0>;
	};

};

arduino_spi: &spi2 {
	imu_spi: imu_spi@0 {
		compatible = "vnd,spi-device";
		spi-max-frequency = <DT_FREQ_M(8)>;
		label = "imu-spi";
		reg = <0>;
	};
};
```

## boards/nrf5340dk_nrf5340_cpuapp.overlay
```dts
&pwm0_default {
	group1 {
		psels = <NRF_PSEL(PWM_OUT0, 0, 13)>,
			<NRF_PSEL(PWM_OUT1, 0, 14)>,
			<NRF_PSEL(PWM_OUT2, 0, 15)>;
		nordic,drive-mode = <NRF_DRIVE_D0S1>;
		nordic,invert;
	};
};

&pwm0_sleep {
	group1 {
		psels = <NRF_PSEL(PWM_OUT0, 0, 13)>,
			<NRF_PSEL(PWM_OUT1, 0, 14)>,
			<NRF_PSEL(PWM_OUT2, 0, 15)>;
	};
};

/ {
	zephyr,user {
		/* Separate DK lamps; no RGB/color-mixing assumption. */
		led-capability = "tri-discrete";
		pwms = <&pwm0 0 PWM_MSEC(20) PWM_POLARITY_INVERTED>,
			<&pwm0 1 PWM_MSEC(20) PWM_POLARITY_INVERTED>,
			<&pwm0 2 PWM_MSEC(20) PWM_POLARITY_INVERTED>;
		led-channel-colors = <0 0 0>;
		led-channel-weights = <10000 10000 10000>;
	};
	chosen {
		zephyr,console = &cdc_acm_uart0;
		zephyr,shell-uart = &cdc_acm_uart0;
	};

	pwmleds {
		pwm_led1: pwm_led_1 {
			pwms = <&pwm0 1 PWM_MSEC(20) PWM_POLARITY_INVERTED>;
		};
		pwm_led2: pwm_led_2 {
			pwms = <&pwm0 2 PWM_MSEC(20) PWM_POLARITY_INVERTED>;
		};
	};

	battery-divider {
		compatible = "voltage-divider";
		status = "okay";
		io-channels = <&adc 12>; // Measure VDDHDIV5
		output-ohms = <1>;
		full-ohms = <2>;
	};

	aliases {
		pwm-led1 = &pwm_led1;
		pwm-led2 = &pwm_led2;
	};
};

&i2c0 {
	compatible = "nordic,nrf-twim";
	zephyr,concat-buf-size = <1023>;
	zephyr,flash-buf-max-size = <1023>;
	clock-frequency = <I2C_BITRATE_FAST>;

	imu: imu@0 { // any address out of range (00, 7f, etc. will search all addresses and stored address first if available, specify an address here to search first otherwise
		compatible = "i2c-device";
		label = "imu";
		reg = <0>;
	};

	mag: mag@0 {
		compatible = "i2c-device";
		label = "mag";
		reg = <0>;
	};

};

arduino_spi: &spi3 {
	imu_spi: imu_spi@0 {
		compatible = "vnd,spi-device";
		spi-max-frequency = <DT_FREQ_M(32)>;
		label = "imu-spi";
		reg = <0>;
	};
};

zephyr_udc0: &usbd {
	cdc_acm_uart0: cdc_acm_uart0 {
		compatible = "zephyr,cdc-acm-uart";
	};
};
```

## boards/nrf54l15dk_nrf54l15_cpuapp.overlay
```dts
&pinctrl {
	i2c0_default: i2c0_default {
		group1 {
			psels = <NRF_PSEL(TWIM_SDA, 1, 5)>,
				<NRF_PSEL(TWIM_SCL, 1, 7)>;
		};
	};

	i2c0_sleep: i2c0_sleep {
		group1 {
			psels = <NRF_PSEL(TWIM_SDA, 1, 5)>,
				<NRF_PSEL(TWIM_SCL, 1, 7)>;
			low-power-enable;
		};
	};

};

&pwm20_default {
	group1 {
		psels = <NRF_PSEL(PWM_OUT0, 1, 10)>,
			<NRF_PSEL(PWM_OUT1, 1, 14)>;
	};
};

&pwm20_sleep {
	group1 {
		psels = <NRF_PSEL(PWM_OUT0, 1, 10)>,
			<NRF_PSEL(PWM_OUT1, 1, 14)>;
	};
};

/ {
	zephyr,user {
		led-capability = "mono-pwm";
		pwms = <&pwm20 1 PWM_MSEC(20) PWM_POLARITY_NORMAL>;
		led-channel-colors = <0>;
		led-channel-weights = <10000>;
	};
	pwmleds {
		pwm_led0: pwm_led_0 {
			pwms = <&pwm20 1 PWM_MSEC(20) PWM_POLARITY_NORMAL>;
		};
	};

	battery-divider {
		compatible = "voltage-divider";
		status = "okay";
		io-channels = <&adc 12>; // Measure VDDHDIV5
		output-ohms = <1>;
		full-ohms = <2>;
	};
};

&i2c20 {
	compatible = "nordic,nrf-twim";
	status = "okay";
	zephyr,concat-buf-size = <1023>;
	zephyr,flash-buf-max-size = <1023>;
	clock-frequency = <I2C_BITRATE_FAST>;
	pinctrl-0 = <&i2c0_default>;
	pinctrl-1 = <&i2c0_sleep>;
	pinctrl-names = "default", "sleep";

	imu: imu@0 { // any address out of range (00, 7f, etc. will search all addresses and stored address first if available, specify an address here to search first otherwise
		compatible = "i2c-device";
		label = "imu";
		reg = <0>;
	};

	mag: mag@0 {
		compatible = "i2c-device";
		label = "mag";
		reg = <0>;
	};

};

&spi00 {
	/* nRF54L SPIM00 prescaler accepts only even divisors: the IMU drivers'
	 * 24 MHz request is invalid, so clamp the controller (and child) to the
	 * safe 8 MHz used everywhere else.
	 */
	max-frequency = <DT_FREQ_M(8)>;
	/delete-node/ mx25r6435f@0;

	imu_spi: imu_spi@0 {
		compatible = "vnd,spi-device";
		spi-max-frequency = <DT_FREQ_M(8)>;
		label = "imu-spi";
		reg = <0>;
	};
};

&uart20 {
	status = "disabled";
};
```

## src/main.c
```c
/*
	SlimeVR Code is placed under the MIT license
	Copyright (c) 2025 SlimeVR Contributors

	Permission is hereby granted, free of charge, to any person obtaining a copy
	of this software and associated documentation files (the "Software"), to deal
	in the Software without restriction, including without limitation the rights
	to use, copy, modify, merge, publish, distribute, sublicense, and/or sell
	copies of the Software, and to permit persons to whom the Software is
	furnished to do so, subject to the following conditions:

	The above copyright notice and this permission notice shall be included in
	all copies or substantial portions of the Software.

	THE SOFTWARE IS PROVIDED "AS IS", WITHOUT WARRANTY OF ANY KIND, EXPRESS OR
	IMPLIED, INCLUDING BUT NOT LIMITED TO THE WARRANTIES OF MERCHANTABILITY,
	FITNESS FOR A PARTICULAR PURPOSE AND NONINFRINGEMENT. IN NO EVENT SHALL THE
	AUTHORS OR COPYRIGHT HOLDERS BE LIABLE FOR ANY CLAIM, DAMAGES OR OTHER
	LIABILITY, WHETHER IN AN ACTION OF CONTRACT, TORT OR OTHERWISE, ARISING FROM,
	OUT OF OR IN CONNECTION WITH THE SOFTWARE OR THE USE OR OTHER DEALINGS IN
	THE SOFTWARE.
*/
#include "globals.h"
#include "system/system.h"
#include "system/uptime.h"
#if CONFIG_CUSTOMER_INFO
#include "system/customer_info.h"
#endif
// #include "timer.h"
#include "connection/esb.h"
#include "sensor/sensor.h"

#include <stdint.h>

#include <zephyr/sys/reboot.h>
#include <zephyr/drivers/gpio.h>
#define ZEPHYR_USER_NODE DT_PATH(zephyr_user)
#if DT_NODE_HAS_PROP(ZEPHYR_USER_NODE, pwr_gpios)
static const struct gpio_dt_spec pwr = GPIO_DT_SPEC_GET(ZEPHYR_USER_NODE, pwr_gpios);
#else
#if CONFIG_BOARD_PROMICRO_UF2
#warning "IMU power pins not defined: do not stack IMU on PROMICRO"
#endif // CONFIG_BOARD_PROMICRO_UF2
#endif
#if DT_NODE_HAS_PROP(ZEPHYR_USER_NODE, gnd_gpios)
static const struct gpio_dt_spec gnd = GPIO_DT_SPEC_GET(ZEPHYR_USER_NODE, gnd_gpios);
#else
#if CONFIG_BOARD_PROMICRO_UF2
#warning "IMU gnd pins not defined: do not stack IMU on PROMICRO"
#endif // CONFIG_BOARD_PROMICRO_UF2
#endif

LOG_MODULE_REGISTER(main, LOG_LEVEL_INF);

#if DT_NODE_HAS_PROP(DT_ALIAS(sw0), gpios)
#define BUTTON_EXISTS true
#endif

#define ADAFRUIT_BOOTLOADER (CONFIG_BUILD_OUTPUT_UF2 && !CONFIG_BOOTLOADER_MCUBOOT)

int main(void)
{
#if DT_NODE_HAS_PROP(ZEPHYR_USER_NODE, gnd_gpios)
	gpio_pin_configure_dt(&gnd, GPIO_OUTPUT_ACTIVE);
	gpio_pin_set_dt(&gnd, 0);
#endif
#if DT_NODE_HAS_PROP(ZEPHYR_USER_NODE, pwr_gpios)
	gpio_pin_configure_dt(&pwr, GPIO_OUTPUT_ACTIVE);
	gpio_pin_set_dt(&pwr, 1);
#endif
#if IGNORE_RESET && BUTTON_EXISTS
	bool reset_pin_reset = false;
#else
#ifdef NRF_RESET
	bool reset_pin_reset = sys_get_reset_reason() & RESET_RESETREAS_RESETPIN_Msk;
#else
	bool reset_pin_reset = sys_get_reset_reason() & POWER_RESETREAS_RESETPIN_Msk;
#endif
#endif

	/* Boot is not a new button input. Initialization/link/readiness owners
	 * publish their real states without an extra startup ACK color change. */

	uint8_t reboot_counter = reboot_counter_read();
	bool booting_from_shutdown
		= !reboot_counter && (reset_pin_reset || button_read()); // 0 means from user shutdown or failed ram validation

	if (button_read()) {
		while (button_read()) {
			if (system_uptime_since_boot_ms() > 5000) {
#if CONFIG_USER_EXTRA_ACTIONS
				LOG_INF("Button long hold timeout, continuing boot");
#else
				LOG_INF("Pairing requested");
				esb_reset_pair();
#endif
				break;
			}
			k_msleep(1);
		}
	}

	bool docked = dock_read();

	if (reboot_counter == 0) {
		reboot_counter = 100;
	} else if (reboot_counter > 200) {
		reboot_counter = 200; // How did you get here
	}
	uint8_t reset_mode = reboot_counter - 100;
	if (reset_pin_reset && !docked) // Count pin resets while not docked
	{
		reboot_counter++;
		reboot_counter_write(reboot_counter);
		LOG_INF("Reset count: %u", reboot_counter);
#if ADAFRUIT_BOOTLOADER                                                                                                \
	&& !(IGNORE_RESET && BUTTON_EXISTS)       // Using Adafruit bootloader, skip DFU if reset button is in use
	sys_skip_dfu(); // Skip DFU
#endif
		k_msleep(1000); // Wait before clearing counter and continuing
	}
	reboot_counter_write(100);
	if (!reset_pin_reset
		&& reset_mode
			   == 0) { // Only need to check once, if the button is pressed again an interrupt is triggered from before
		const uint8_t reset_mode_cancelled = UINT8_MAX;
		reset_mode = reset_mode_cancelled;
	}

#if USER_SHUTDOWN_ENABLED
#if DT_NODE_HAS_PROP(DT_PATH(zephyr_user), stat_gpios)
	bool charging = false, charged = false;
	(void)sys_charger_snapshot(&charging, &charged);
#else
	bool charging = chg_read();
	bool charged = stby_read();
#endif
	/* STAT high-Z does not establish external-power absence. */
	bool plugged = vin_read() || vbus_read();

	if (reset_mode == 0 && !booting_from_shutdown && !charging && !charged
		&& !plugged) { // Reset mode user shutdown, only if unplugged and undocked
		sys_user_shutdown();
	}
#endif

	if (!booting_from_shutdown) {
		k_usleep(60);
	}

	sys_reset_mode(reset_mode);
#if CONFIG_CUSTOMER_INFO
	customer_info_report(CUSTOMER_INFO_REPORT_LOG_SUMMARY);
#endif

	return 0;
}
```

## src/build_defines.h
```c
/*
	SlimeVR Code is placed under the MIT license
	Copyright (c) 2025 SlimeVR Contributors

	Permission is hereby granted, free of charge, to any person obtaining a copy
	of this software and associated documentation files (the "Software"), to deal
	in the Software without restriction, including without limitation the rights
	to use, copy, modify, merge, publish, distribute, sublicense, and/or sell
	copies of the Software, and to permit persons to whom the Software is
	furnished to do so, subject to the following conditions:

	The above copyright notice and this permission notice shall be included in
	all copies or substantial portions of the Software.

	THE SOFTWARE IS PROVIDED "AS IS", WITHOUT WARRANTY OF ANY KIND, EXPRESS OR
	IMPLIED, INCLUDING BUT NOT LIMITED TO THE WARRANTIES OF MERCHANTABILITY,
	FITNESS FOR A PARTICULAR PURPOSE AND NONINFRINGEMENT. IN NO EVENT SHALL THE
	AUTHORS OR COPYRIGHT HOLDERS BE LIABLE FOR ANY CLAIM, DAMAGES OR OTHER
	LIABILITY, WHETHER IN AN ACTION OF CONTRACT, TORT OR OTHERWISE, ARISING FROM,
	OUT OF OR IN CONNECTION WITH THE SOFTWARE OR THE USE OR OTHER DEALINGS IN
	THE SOFTWARE.
*/
#include "sensor/sensors_enum.h"
#include "system/status.h"

#include "app_version.h"

#ifdef CONFIG_NCS_APPLICATION_BOOT_BANNER_STRING
#define FW_NAME CONFIG_NCS_APPLICATION_BOOT_BANNER_STRING
#else
#define FW_NAME "SlimeNRF Tracker"
#endif
#define FW_VERSION_MAJOR APP_VERSION_MAJOR
#define FW_VERSION_MINOR APP_VERSION_MINOR
#define FW_VERSION_PATCH APP_PATCHLEVEL

// Build-time VCS metadata (injected by CMake). Keep safe fallbacks for non-git builds.
#ifndef FW_GIT_REPO_URL
#define FW_GIT_REPO_URL "unknown"
#endif
#ifndef FW_GIT_BRANCH
#define FW_GIT_BRANCH "unknown"
#endif
#ifndef FW_GIT_AUTHOR
#define FW_GIT_AUTHOR "unknown"
#endif


// constants from server, should include BoardType, MCUType, IMUType, MagType (not yet)
// https://github.com/SlimeVR/SlimeVR-Server/blob/main/server/core/src/main/java/dev/slimevr/tracking/trackers/udp/FirmwareConstants.kt
#define SVR_IMU_UNKNOWN 0
#define SVR_IMU_MPU9250 1
#define SVR_IMU_MPU6500 2
#define SVR_IMU_BNO080 3
#define SVR_IMU_BNO085 4
#define SVR_IMU_BNO055 5
#define SVR_IMU_MPU6050 6
#define SVR_IMU_BNO086 7
#define SVR_IMU_BMI160 8
#define SVR_IMU_ICM20948 9
#define SVR_IMU_ICM42688 10
#define SVR_IMU_BMI270 11 // Historical server ID; BMI270 is no longer supported.
#define SVR_IMU_LSM6DS3TRC 12
#define SVR_IMU_LSM6DSV 13
#define SVR_IMU_LSM6DSO 14
#define SVR_IMU_LSM6DSR 15
#define SVR_IMU_ICM45686 16
#define SVR_IMU_ICM45605 17
#define SVR_IMU_ADC_RESISTANCE 18
#define SVR_IMU_DEV_RESERVED 250

#define SVR_BOARD_UNKNOWN 0
#define SVR_BOARD_SLIMEVR_LEGACY 1
#define SVR_BOARD_SLIMEVR_DEV 2
#define SVR_BOARD_NODEMCU 3
#define SVR_BOARD_CUSTOM 4
#define SVR_BOARD_WROOM32 5
#define SVR_BOARD_WEMOSD1MINI 6
#define SVR_BOARD_TTGO_TBASE 7
#define SVR_BOARD_ESP01 8
#define SVR_BOARD_SLIMEVR 9
#define SVR_BOARD_LOLIN_C3_MINI 10
#define SVR_BOARD_BEETLE32C32 11
#define SVR_BOARD_ES32C3DEVKITM1 12
#define SVR_BOARD_OWOTRACK 13
#define SVR_BOARD_WRANGLER 14
#define SVR_BOARD_MOCOPI 15
#define SVR_BOARD_WEMOSWROOM02 16
#define SVR_BOARD_XIAO_ESP32C3 17
#define SVR_BOARD_HARITORA 18
#define SVR_BOARD_ESP32C6DEVKITC1 19
#define SVR_BOARD_GLOVE_IMU_SLIMEVR_DEV 20
#define SVR_BOARD_GESTURES 21
#define SVR_BOARD_SLIMEVR_V1_2 22
#define SVR_BOARD_ESP32S3_SUPERMINI 23
#define SVR_BOARD_GENERIC_NRF 24
#define SVR_BOARD_SLIMEVR_BUTTERFLY_DEV 25
#define SVR_BOARD_SLIMEVR_BUTTERFLY 26
#define SVR_BOARD_DEV_RESERVED 250

#define SVR_MCU_UNKNOWN 0
#define SVR_MCU_ESP8266 1
#define SVR_MCU_ESP32 2
#define SVR_MCU_OWOTRACK_ANDROID 3
#define SVR_MCU_WRANGLER 4
#define SVR_MCU_OWOTRACK_IOS 5
#define SVR_MCU_ESP32_C3 6
#define SVR_MCU_MOCOPI 7
#define SVR_MCU_HARITORA 8
#define SVR_MCU_NRF52 9
#define SVR_MCU_NRF54L 10
#define SVR_MCU_DEV_RESERVED 250

#define SVR_MAG_STATUS_NOT_SUPPORTED 0
#define SVR_MAG_STATUS_DISABLED 1
#define SVR_MAG_STATUS_ENABLED 2

// https://github.com/SlimeVR/SlimeVR-Server/blob/main/server/core/src/main/java/dev/slimevr/tracking/trackers/TrackerStatus.kt
#define SVR_STATUS_DISCONNECTED 0
#define SVR_STATUS_OK 1
#define SVR_STATUS_BUSY 2
#define SVR_STATUS_ERROR 3
#define SVR_STATUS_OCCLUDED 4
#define SVR_STATUS_TIMED_OUT 5

#define FW_BOARD SVR_BOARD_GENERIC_NRF

#if CONFIG_SOC_SERIES_NRF52
#define FW_MCU SVR_MCU_NRF52
#elif CONFIG_SOC_SERIES_NRF54L
#define FW_MCU SVR_MCU_NRF54L
#else
#define FW_MCU 0
#endif



// https://stackoverflow.com/questions/11697820/how-to-use-date-and-time-predefined-macros-in-as-two-integers-then-stri
#define COMPUTE_BUILD_YEAR \
	( \
		(__DATE__[ 7] - '0') * 1000 + \
		(__DATE__[ 8] - '0') *  100 + \
		(__DATE__[ 9] - '0') *   10 + \
		(__DATE__[10] - '0') \
	)

#define COMPUTE_BUILD_DAY \
	( \
		((__DATE__[4] >= '0') ? (__DATE__[4] - '0') * 10 : 0) + \
		(__DATE__[5] - '0') \
	)

#define BUILD_MONTH_IS_JAN (__DATE__[0] == 'J' && __DATE__[1] == 'a' && __DATE__[2] == 'n')
#define BUILD_MONTH_IS_FEB (__DATE__[0] == 'F')
#define BUILD_MONTH_IS_MAR (__DATE__[0] == 'M' && __DATE__[1] == 'a' && __DATE__[2] == 'r')
#define BUILD_MONTH_IS_APR (__DATE__[0] == 'A' && __DATE__[1] == 'p')
#define BUILD_MONTH_IS_MAY (__DATE__[0] == 'M' && __DATE__[1] == 'a' && __DATE__[2] == 'y')
#define BUILD_MONTH_IS_JUN (__DATE__[0] == 'J' && __DATE__[1] == 'u' && __DATE__[2] == 'n')
#define BUILD_MONTH_IS_JUL (__DATE__[0] == 'J' && __DATE__[1] == 'u' && __DATE__[2] == 'l')
#define BUILD_MONTH_IS_AUG (__DATE__[0] == 'A' && __DATE__[1] == 'u')
#define BUILD_MONTH_IS_SEP (__DATE__[0] == 'S')
#define BUILD_MONTH_IS_OCT (__DATE__[0] == 'O')
#define BUILD_MONTH_IS_NOV (__DATE__[0] == 'N')
#define BUILD_MONTH_IS_DEC (__DATE__[0] == 'D')

#define COMPUTE_BUILD_MONTH \
	( \
		(BUILD_MONTH_IS_JAN) ?  1 : \
		(BUILD_MONTH_IS_FEB) ?  2 : \
		(BUILD_MONTH_IS_MAR) ?  3 : \
		(BUILD_MONTH_IS_APR) ?  4 : \
		(BUILD_MONTH_IS_MAY) ?  5 : \
		(BUILD_MONTH_IS_JUN) ?  6 : \
		(BUILD_MONTH_IS_JUL) ?  7 : \
		(BUILD_MONTH_IS_AUG) ?  8 : \
		(BUILD_MONTH_IS_SEP) ?  9 : \
		(BUILD_MONTH_IS_OCT) ? 10 : \
		(BUILD_MONTH_IS_NOV) ? 11 : \
		(BUILD_MONTH_IS_DEC) ? 12 : \
		/* error default */  99 \
	)

#define COMPUTE_BUILD_HOUR ((__TIME__[0] - '0') * 10 + __TIME__[1] - '0')
#define COMPUTE_BUILD_MIN  ((__TIME__[3] - '0') * 10 + __TIME__[4] - '0')
#define COMPUTE_BUILD_SEC  ((__TIME__[6] - '0') * 10 + __TIME__[7] - '0')

#define BUILD_DATE_IS_BAD (__DATE__[0] == '?')

#define BUILD_YEAR  ((BUILD_DATE_IS_BAD) ? 99 : COMPUTE_BUILD_YEAR)
#define BUILD_MONTH ((BUILD_DATE_IS_BAD) ? 99 : COMPUTE_BUILD_MONTH)
#define BUILD_DAY   ((BUILD_DATE_IS_BAD) ? 99 : COMPUTE_BUILD_DAY)

#define BUILD_TIME_IS_BAD (__TIME__[0] == '?')

#define BUILD_HOUR  ((BUILD_TIME_IS_BAD) ? 99 :  COMPUTE_BUILD_HOUR)
#define BUILD_MIN   ((BUILD_TIME_IS_BAD) ? 99 :  COMPUTE_BUILD_MIN)
#define BUILD_SEC   ((BUILD_TIME_IS_BAD) ? 99 :  COMPUTE_BUILD_SEC)

#define BUILD_TIMESTAMP (((((((BUILD_YEAR - 2020) & 127) * 12 + (BUILD_MONTH & 15)) * 31 + (BUILD_DAY & 31)) * 24 + (BUILD_HOUR % 24)) * 60 + (BUILD_MIN % 60)) * 60 + (BUILD_SEC % 60))

#define TOSTRING(x) STRINGIFY(x)

#define FW_STRING FW_NAME " " APP_VERSION_EXTENDED_STRING " "\
	"(Commit " TOSTRING(APP_BUILD_VERSION) ", Build %d-%02d-%02d %02d:%02d:%02d)\n",\
	BUILD_YEAR, BUILD_MONTH, BUILD_DAY, BUILD_HOUR, BUILD_MIN, BUILD_SEC
```

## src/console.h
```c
#ifndef SLIMENRF_CONSOLE
#define SLIMENRF_CONSOLE

#include <stdint.h>

#if CONFIG_USE_SLIMENRF_CONSOLE
int console_serial_start(void);
/* Soft DTR close discards unfinished input/echo, not complete lines accepted
 * into the bounded queue. Reopen preserves their admission, including messages
 * already dequeued. This does not guarantee delivery of unread host bytes. */
void console_serial_close(void);
/* Hard lifecycle loss invalidates queued/dequeued lines; a handler already
 * admitted by the worker is allowed to finish. */
void console_serial_stop(void);
#else
static inline int console_serial_start(void)
{
	return 0;
}

static inline void console_serial_close(void)
{
}

static inline void console_serial_stop(void)
{
}
#endif

#endif
```

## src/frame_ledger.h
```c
/* Local diagnostic ABI, never sent in relay protocol packets. */
#pragma once
#include <stdint.h>
enum ledger_event {
	LEDGER_SOURCE = 1,
	LEDGER_CAPTURE = 2,
	LEDGER_MISS = 3,
	LEDGER_SELECTED = 4,
	LEDGER_REPAIR = 5,
	LEDGER_B = 6,
	LEDGER_ACCEPT = 7,
	LEDGER_DUPLICATE = 8,
	LEDGER_OBSOLETE = 9,
	LEDGER_EXPIRE = 10,
	LEDGER_TARGET = 11,
	LEDGER_SOURCE_REFUSAL = 12,
	LEDGER_HELPER_B = 13,
	LEDGER_REPAIR_REFUSAL = 14,
	LEDGER_SOURCE_WINDOW = 15,
	LEDGER_REPAIR_WINDOW = 16,
	LEDGER_SOURCE_BUILD_CYCLES = 17,
	LEDGER_SOURCE_ENCODE_CYCLES = 18,
	LEDGER_SOURCE_ADMIT_CYCLES = 19,
	LEDGER_REPAIR_BUILD_CYCLES = 20,
	LEDGER_REPAIR_WAIT_LATE = 21,
	LEDGER_REPAIR_FINAL_CYCLES = 22,
	LEDGER_SOURCE_WAIT_LATE = 23,
	LEDGER_CAPTURE_START = 24,
	LEDGER_SOURCE_SETUP_CYCLES = 25,
	LEDGER_SOURCE_WAIT_CYCLES = 26,
	LEDGER_SOURCE_FINAL_CYCLES = 27,
	LEDGER_SOURCE_START_CYCLES = 28,
	LEDGER_SOURCE_TX_START = 29,
	LEDGER_SOURCE_TX_COMPLETE = 30,
	LEDGER_SOURCE_TX_END_TICK = 31,
	LEDGER_CAPTURE_RADIO_STATE = 32,
};
enum ledger_refusal {
	LEDGER_REFUSAL_NONE = 0,
	LEDGER_REFUSAL_CHANNEL = 1,
	LEDGER_REFUSAL_LAYOUT = 2,
	LEDGER_REFUSAL_ADMISSION = 3,
	LEDGER_REFUSAL_FINAL = 4,
	LEDGER_REFUSAL_NO_TARGET = 5,
	LEDGER_REFUSAL_EMPTY = 6,
	LEDGER_REFUSAL_WAIT = 7,
	LEDGER_REFUSAL_BUSY = 8,
	LEDGER_REFUSAL_GATE = 9,
	LEDGER_REFUSAL_QUEUE = 10,
};
#ifdef CONFIG_RELAY_FRAME_LEDGER
extern uint8_t ledger_source_refusal, ledger_repair_refusal;
extern int16_t ledger_window_detail, ledger_wait_lateness, ledger_repair_wait_lateness, ledger_source_wait_lateness;
#ifdef CONFIG_RELAY_LEDGER_TIMING
extern uint32_t ledger_repair_build_cycles, ledger_repair_final_cycles;
extern uint32_t ledger_source_target_tick;
extern int16_t ledger_source_tx_start;
extern uint32_t ledger_source_setup_cycles, ledger_source_wait_cycles, ledger_source_final_cycles, ledger_source_start_cycles;
extern uint32_t ledger_source_wake_cycles, ledger_source_encode_cycles, ledger_source_write_cycles, ledger_source_admit_cycles;
#endif
#define LEDGER_WINDOW_RESET() (ledger_window_detail = -32768)
#define LEDGER_REPAIR_REASON(reason) (ledger_repair_refusal = (reason))
#define LEDGER_SOURCE_REASON(reason) (ledger_source_refusal = (reason))
void ledger_note(uint32_t session, uint32_t frame, uint8_t child,
                 uint8_t event, int16_t detail, uint8_t peer, uint8_t age);
void ledger_command(int child);
void ledger_command_mask(uint16_t mask);
int ledger_child_enabled(unsigned child);
#else
#define LEDGER_WINDOW_RESET() ((void)0)
#define LEDGER_REPAIR_REASON(reason) ((void)0)
#define LEDGER_SOURCE_REASON(reason) ((void)0)
#define ledger_note(...) ((void)0)
static inline void ledger_command(int child) { (void)child; }
static inline void ledger_command_mask(uint16_t mask) { (void)mask; }
#endif
```
